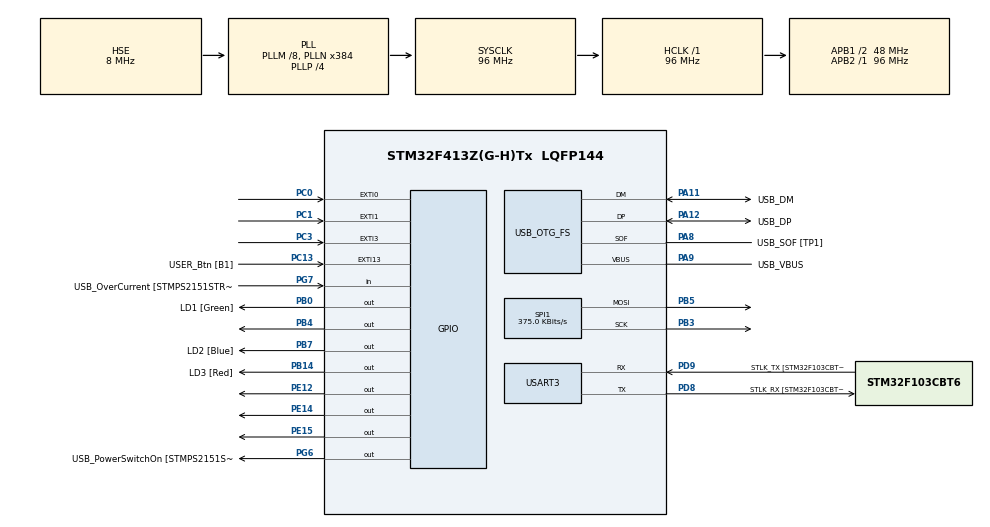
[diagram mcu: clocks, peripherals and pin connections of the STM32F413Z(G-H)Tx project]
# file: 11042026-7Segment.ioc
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Dma.Request0=SPI1_TX
Dma.SPI1_TX.0.Direction=DMA_MEMORY_TO_PERIPH
Dma.SPI1_TX.0.FIFOMode=DMA_FIFOMODE_DISABLE
Dma.SPI1_TX.0.Instance=DMA2_Stream2
Dma.SPI1_TX.0.MemDataAlignment=DMA_MDATAALIGN_BYTE
Dma.SPI1_TX.0.MemInc=DMA_MINC_ENABLE
Dma.SPI1_TX.0.Mode=DMA_NORMAL
Dma.SPI1_TX.0.PeriphDataAlignment=DMA_PDATAALIGN_BYTE
Dma.SPI1_TX.0.PeriphInc=DMA_PINC_DISABLE
Dma.SPI1_TX.0.Priority=DMA_PRIORITY_HIGH
Mcu.Family=STM32F4
Mcu.Name=STM32F413Z(G-H)Tx
Mcu.Package=LQFP144
NVIC.DMA2_Stream2_IRQn=true\:1\:0\:true\:false\:true\:false\:true\:true
NVIC.EXTI0_IRQn=true\:0\:0\:true\:false\:true\:true\:true\:true
NVIC.EXTI1_IRQn=true\:0\:0\:true\:false\:true\:true\:true\:true
NVIC.EXTI3_IRQn=true\:0\:0\:true\:false\:true\:true\:true\:true
NVIC.PriorityGroup=NVIC_PRIORITYGROUP_4
NVIC.SPI1_IRQn=true\:0\:0\:false\:false\:true\:true\:true\:true
NVIC.TIM6_DAC_IRQn=true\:0\:0\:false\:false\:true\:true\:true\:true
PA10.GPIO_Label=USB_ID
PA10.Signal=USB_OTG_FS_ID
PA11.GPIO_Label=USB_DM
PA11.Mode=Device_Only
PA11.Signal=USB_OTG_FS_DM
PA12.GPIO_Label=USB_DP
PA12.Mode=Device_Only
PA12.Signal=USB_OTG_FS_DP
PA13.GPIO_Label=TMS
PA13.Mode=Serial_Wire
PA13.Signal=SYS_JTMS-SWDIO
PA14.GPIO_Label=TCK
PA14.Mode=Serial_Wire
PA14.Signal=SYS_JTCK-SWCLK
PA8.GPIO_Label=USB_SOF [TP1]
PA8.Mode=Activate_SOF_FS
PA8.Signal=USB_OTG_FS_SOF
PA9.GPIO_Label=USB_VBUS
PA9.Mode=Activate_VBUS
PA9.Signal=USB_OTG_FS_VBUS
PB0.GPIO_Label=LD1 [Green]
PB0.Signal=GPIO_Output
PB14.GPIO_Label=LD3 [Red]
PB14.Signal=GPIO_Output
PB3.Mode=TX_Only_Simplex_Unidirect_Master
PB3.Signal=SPI1_SCK
PB4.Signal=GPIO_Output
PB5.Mode=TX_Only_Simplex_Unidirect_Master
PB5.Signal=SPI1_MOSI
PB7.GPIO_Label=LD2 [Blue]
PB7.Signal=GPIO_Output
PC0.GPIO_ModeDefaultEXTI=GPIO_MODE_IT_FALLING
PC0.Signal=GPXTI0
PC1.GPIO_ModeDefaultEXTI=GPIO_MODE_IT_FALLING
PC1.Signal=GPXTI1
PC13.GPIO_Label=USER_Btn [B1]
PC13.Signal=GPXTI13
PC14-OSC32_IN.Mode=LSE-External-Oscillator
PC14-OSC32_IN.Signal=RCC_OSC32_IN
PC15-OSC32_OUT.Mode=LSE-External-Oscillator
PC15-OSC32_OUT.Signal=RCC_OSC32_OUT
PC3.GPIO_ModeDefaultEXTI=GPIO_MODE_IT_FALLING
PC3.Signal=GPXTI3
PD8.GPIO_Label=STLK_RX [STM32F103CBT6_PA3]
PD8.Mode=Asynchronous
PD8.Signal=USART3_TX
PD9.GPIO_Label=STLK_TX [STM32F103CBT6_PA2]
PD9.Mode=Asynchronous
PD9.Signal=USART3_RX
PE12.Signal=GPIO_Output
PE14.Signal=GPIO_Output
PE15.Signal=GPIO_Output
PG6.GPIO_Label=USB_PowerSwitchOn [STMPS2151STR_EN]
PG6.Signal=GPIO_Output
PG7.GPIO_Label=USB_OverCurrent [STMPS2151STR_FAULT]
PG7.Signal=GPIO_Input
PH0\ -\ OSC_IN.GPIO_Label=MCO
PH0\ -\ OSC_IN.Mode=HSE-External-Clock-Source
PH0\ -\ OSC_IN.Signal=RCC_OSC_IN
PH1\ -\ OSC_OUT.Mode=HSE-External-Clock-Source
PH1\ -\ OSC_OUT.Signal=RCC_OSC_OUT
ProjectManager.HeapSize=0x200
ProjectManager.StackSize=0x400
ProjectManager.TargetToolchain=CMake
RCC.48MHZClocksFreq_Value=24000000
RCC.AHBFreq_Value=96000000
RCC.APB1CLKDivider=RCC_HCLK_DIV2
RCC.APB1Freq_Value=48000000
RCC.APB1TimFreq_Value=96000000
RCC.APB2Freq_Value=96000000
RCC.APB2TimFreq_Value=96000000
RCC.CortexFreq_Value=96000000
RCC.HCLKFreq_Value=96000000
RCC.HSE_VALUE=8000000
RCC.HSI_VALUE=16000000
RCC.PLLM=8
RCC.PLLMUL=RCC_PLL_MUL9
RCC.PLLN=384
RCC.PLLP=RCC_PLLP_DIV4
RCC.PLLQ=8
RCC.PRESCALERUSB=RCC_USBCLKSOURCE_PLL_DIV1_5
RCC.SYSCLKFreq_VALUE=96000000
RCC.SYSCLKSource=RCC_SYSCLKSOURCE_PLLCLK
RCC.SYSCLKSourceVirtual=RCC_SYSCLKSOURCE_PLLCLK
RCC.USBFreq_Value=48000000
RCC.VCOOutputFreq_Value=384000000
SPI1.BaudRatePrescaler=SPI_BAUDRATEPRESCALER_256
SPI1.CalculateBaudRate=375.0 KBits/s
SPI1.DataSize=SPI_DATASIZE_8BIT
SPI1.Direction=SPI_DIRECTION_2LINES
SPI1.Mode=SPI_MODE_MASTER
SPI1.VirtualType=VM_MASTER
TIM6.Period=1000
TIM6.Prescaler=9600-1
USART3.VirtualMode=VM_ASYNC
USB_OTG_FS.VirtualMode=Device_Only
VP_TIM6_VS_ClockSourceINT.Mode=Enable_Timer
board=NUCLEO-F413ZH

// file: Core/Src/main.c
/* USER CODE BEGIN Header */
/**
  ******************************************************************************
  * @file           : main.c
  * @brief          : Main program body
  ******************************************************************************
  * @attention
  *
  * Copyright (c) 2026 STMicroelectronics.
  * All rights reserved.
  *
  * This software is licensed under terms that can be found in the LICENSE file
  * in the root directory of this software component.
  * If no LICENSE file comes with this software, it is provided AS-IS.
  *
  ******************************************************************************
  */
/* USER CODE END Header */
#include "main.h"
#include "stm32f413xx.h"
#include "stm32f4xx_hal_gpio.h"

/* USER CODE BEGIN Includes */
#include <string.h>
#include <stdio.h>
/* USER CODE END Includes */

SPI_HandleTypeDef hspi1;
DMA_HandleTypeDef hdma_spi1_tx;

TIM_HandleTypeDef htim6;

UART_HandleTypeDef huart3;

PCD_HandleTypeDef hpcd_USB_OTG_FS;

/* USER CODE BEGIN PV */
// uint8_t data=0xC0;
// uint8_t segment=0x08;
const uint8_t SEGMENT_MAP[] = {0xC0,0xF9,0xA4,0xB0,0x99,0x92,0x82,0xF8,0X80,0X90};
const uint8_t SEGMENT_SELECT[] = {0x01, 0x02, 0x04, 0x08};
uint8_t digit[2];
char msg[40];
volatile int seconds = 0;
volatile int centiseconds = 0;
volatile int current_digit = 0;
/* USER CODE END PV */

void SystemClock_Config(void);
static void MX_GPIO_Init(void);
static void MX_DMA_Init(void);
static void MX_USART3_UART_Init(void);
static void MX_USB_OTG_FS_PCD_Init(void);
static void MX_SPI1_Init(void);
static void MX_TIM6_Init(void);
/* USER CODE BEGIN PFP */
void write_digit(int index);
/* USER CODE END PFP */

int main(void)
{

  /* MCU Configuration--------------------------------------------------------*/

  /* Reset of all peripherals, Initializes the Flash interface and the Systick. */
  HAL_Init();

  /* Configure the system clock */
  SystemClock_Config();

  /* Initialize all configured peripherals */
  MX_GPIO_Init();
  MX_DMA_Init();
  MX_USART3_UART_Init();
  MX_USB_OTG_FS_PCD_Init();
  MX_SPI1_Init();
  MX_TIM6_Init();
  /* USER CODE BEGIN 2 */
  //HAL_SPI_Transmit_IT(&hspi1, &sixteen[i], 1);
  HAL_TIM_Base_Start_IT(&htim6);
  write_digit(0);
  /* USER CODE END 2 */

  /* Infinite loop */
  while (1)
  {

  }
}

void SystemClock_Config(void)
{
  RCC_OscInitTypeDef RCC_OscInitStruct = {0};
  RCC_ClkInitTypeDef RCC_ClkInitStruct = {0};

  /** Configure the main internal regulator output voltage
  */
  __HAL_RCC_PWR_CLK_ENABLE();
  __HAL_PWR_VOLTAGESCALING_CONFIG(PWR_REGULATOR_VOLTAGE_SCALE1);

  /** Initializes the RCC Oscillators according to the specified parameters
  * in the RCC_OscInitTypeDef structure.
  */
  RCC_OscInitStruct.OscillatorType = RCC_OSCILLATORTYPE_HSE;
  RCC_OscInitStruct.HSEState = RCC_HSE_BYPASS;
  RCC_OscInitStruct.PLL.PLLState = RCC_PLL_ON;
  RCC_OscInitStruct.PLL.PLLSource = RCC_PLLSOURCE_HSE;
  RCC_OscInitStruct.PLL.PLLM = 8;
  RCC_OscInitStruct.PLL.PLLN = 384;
  RCC_OscInitStruct.PLL.PLLP = RCC_PLLP_DIV4;
  RCC_OscInitStruct.PLL.PLLQ = 8;
  RCC_OscInitStruct.PLL.PLLR = 2;
  if (HAL_RCC_OscConfig(&RCC_OscInitStruct) != HAL_OK)
  {
    Error_Handler();
  }

  /** Initializes the CPU, AHB and APB buses clocks
  */
  RCC_ClkInitStruct.ClockType = RCC_CLOCKTYPE_HCLK|RCC_CLOCKTYPE_SYSCLK
                              |RCC_CLOCKTYPE_PCLK1|RCC_CLOCKTYPE_PCLK2;
  RCC_ClkInitStruct.SYSCLKSource = RCC_SYSCLKSOURCE_PLLCLK;
  RCC_ClkInitStruct.AHBCLKDivider = RCC_SYSCLK_DIV1;
  RCC_ClkInitStruct.APB1CLKDivider = RCC_HCLK_DIV2;
  RCC_ClkInitStruct.APB2CLKDivider = RCC_HCLK_DIV1;

  if (HAL_RCC_ClockConfig(&RCC_ClkInitStruct, FLASH_LATENCY_3) != HAL_OK)
  {
    Error_Handler();
  }
}

static void MX_SPI1_Init(void)
{

  /* SPI1 parameter configuration*/
  hspi1.Instance = SPI1;
  hspi1.Init.Mode = SPI_MODE_MASTER;
  hspi1.Init.Direction = SPI_DIRECTION_2LINES;
  hspi1.Init.DataSize = SPI_DATASIZE_8BIT;
  hspi1.Init.CLKPolarity = SPI_POLARITY_LOW;
  hspi1.Init.CLKPhase = SPI_PHASE_1EDGE;
  hspi1.Init.NSS = SPI_NSS_SOFT;
  hspi1.Init.BaudRatePrescaler = SPI_BAUDRATEPRESCALER_256;
  hspi1.Init.FirstBit = SPI_FIRSTBIT_MSB;
  hspi1.Init.TIMode = SPI_TIMODE_DISABLE;
  hspi1.Init.CRCCalculation = SPI_CRCCALCULATION_DISABLE;
  hspi1.Init.CRCPolynomial = 10;
  if (HAL_SPI_Init(&hspi1) != HAL_OK)
  {
    Error_Handler();
  }

}

static void MX_TIM6_Init(void)
{

  TIM_MasterConfigTypeDef sMasterConfig = {0};

  htim6.Instance = TIM6;
  htim6.Init.Prescaler = 9600-1;
  htim6.Init.CounterMode = TIM_COUNTERMODE_UP;
  htim6.Init.Period = 1000;
  htim6.Init.AutoReloadPreload = TIM_AUTORELOAD_PRELOAD_DISABLE;
  if (HAL_TIM_Base_Init(&htim6) != HAL_OK)
  {
    Error_Handler();
  }
  sMasterConfig.MasterOutputTrigger = TIM_TRGO_RESET;
  sMasterConfig.MasterSlaveMode = TIM_MASTERSLAVEMODE_DISABLE;
  if (HAL_TIMEx_MasterConfigSynchronization(&htim6, &sMasterConfig) != HAL_OK)
  {
    Error_Handler();
  }

}

static void MX_USART3_UART_Init(void)
{

  huart3.Instance = USART3;
  huart3.Init.BaudRate = 115200;
  huart3.Init.WordLength = UART_WORDLENGTH_8B;
  huart3.Init.StopBits = UART_STOPBITS_1;
  huart3.Init.Parity = UART_PARITY_NONE;
  huart3.Init.Mode = UART_MODE_TX_RX;
  huart3.Init.HwFlowCtl = UART_HWCONTROL_NONE;
  huart3.Init.OverSampling = UART_OVERSAMPLING_16;
  if (HAL_UART_Init(&huart3) != HAL_OK)
  {
    Error_Handler();
  }

}

static void MX_USB_OTG_FS_PCD_Init(void)
{

  hpcd_USB_OTG_FS.Instance = USB_OTG_FS;
  hpcd_USB_OTG_FS.Init.dev_endpoints = 6;
  hpcd_USB_OTG_FS.Init.speed = PCD_SPEED_FULL;
  hpcd_USB_OTG_FS.Init.dma_enable = DISABLE;
  hpcd_USB_OTG_FS.Init.phy_itface = PCD_PHY_EMBEDDED;
  hpcd_USB_OTG_FS.Init.Sof_enable = ENABLE;
  hpcd_USB_OTG_FS.Init.low_power_enable = DISABLE;
  hpcd_USB_OTG_FS.Init.lpm_enable = DISABLE;
  hpcd_USB_OTG_FS.Init.battery_charging_enable = ENABLE;
  hpcd_USB_OTG_FS.Init.vbus_sensing_enable = ENABLE;
  hpcd_USB_OTG_FS.Init.use_dedicated_ep1 = DISABLE;
  if (HAL_PCD_Init(&hpcd_USB_OTG_FS) != HAL_OK)
  {
    Error_Handler();
  }

}

static void MX_DMA_Init(void)
{

  /* DMA controller clock enable */
  __HAL_RCC_DMA2_CLK_ENABLE();

  /* DMA interrupt init */
  /* DMA2_Stream2_IRQn interrupt configuration */
  HAL_NVIC_SetPriority(DMA2_Stream2_IRQn, 1, 0);
  HAL_NVIC_EnableIRQ(DMA2_Stream2_IRQn);

}

static void MX_GPIO_Init(void)
{
  GPIO_InitTypeDef GPIO_InitStruct = {0};

  /* GPIO Ports Clock Enable */
  __HAL_RCC_GPIOC_CLK_ENABLE();
  __HAL_RCC_GPIOH_CLK_ENABLE();
  __HAL_RCC_GPIOB_CLK_ENABLE();
  __HAL_RCC_GPIOE_CLK_ENABLE();
  __HAL_RCC_GPIOD_CLK_ENABLE();
  __HAL_RCC_GPIOG_CLK_ENABLE();
  __HAL_RCC_GPIOA_CLK_ENABLE();

  /*Configure GPIO pin Output Level */
  HAL_GPIO_WritePin(GPIOB, LD1_Pin|LD3_Pin|GPIO_PIN_4|LD2_Pin, GPIO_PIN_RESET);

  /*Configure GPIO pin Output Level */
  HAL_GPIO_WritePin(GPIOE, GPIO_PIN_12|GPIO_PIN_14|GPIO_PIN_15, GPIO_PIN_RESET);

  /*Configure GPIO pin Output Level */
  HAL_GPIO_WritePin(USB_PowerSwitchOn_GPIO_Port, USB_PowerSwitchOn_Pin, GPIO_PIN_RESET);

  /*Configure GPIO pin : USER_Btn_Pin */
  GPIO_InitStruct.Pin = USER_Btn_Pin;
  GPIO_InitStruct.Mode = GPIO_MODE_IT_RISING;
  GPIO_InitStruct.Pull = GPIO_NOPULL;
  HAL_GPIO_Init(USER_Btn_GPIO_Port, &GPIO_InitStruct);

  /*Configure GPIO pins : PC0 PC1 PC3 */
  GPIO_InitStruct.Pin = GPIO_PIN_0|GPIO_PIN_1|GPIO_PIN_3;
  GPIO_InitStruct.Mode = GPIO_MODE_IT_FALLING;
  GPIO_InitStruct.Pull = GPIO_NOPULL;
  HAL_GPIO_Init(GPIOC, &GPIO_InitStruct);

  /*Configure GPIO pins : LD1_Pin LD3_Pin PB4 2_Pin */
  GPIO_InitStruct.Pin = LD1_Pin|LD3_Pin|GPIO_PIN_4|LD2_Pin;
  GPIO_InitStruct.Mode = GPIO_MODE_OUTPUT_PP;
  GPIO_InitStruct.Pull = GPIO_NOPULL;
  GPIO_InitStruct.Speed = GPIO_SPEED_FREQ_LOW;
  HAL_GPIO_Init(GPIOB, &GPIO_InitStruct);

  /*Configure GPIO pins : PE12 PE14 PE15 */
  GPIO_InitStruct.Pin = GPIO_PIN_12|GPIO_PIN_14|GPIO_PIN_15;
  GPIO_InitStruct.Mode = GPIO_MODE_OUTPUT_PP;
  GPIO_InitStruct.Pull = GPIO_NOPULL;
  GPIO_InitStruct.Speed = GPIO_SPEED_FREQ_LOW;
  HAL_GPIO_Init(GPIOE, &GPIO_InitStruct);

  /*Configure GPIO pin : USB_PowerSwitchOn_Pin */
  GPIO_InitStruct.Pin = USB_PowerSwitchOn_Pin;
  GPIO_InitStruct.Mode = GPIO_MODE_OUTPUT_PP;
  GPIO_InitStruct.Pull = GPIO_NOPULL;
  GPIO_InitStruct.Speed = GPIO_SPEED_FREQ_LOW;
  HAL_GPIO_Init(USB_PowerSwitchOn_GPIO_Port, &GPIO_InitStruct);

  /*Configure GPIO pin : USB_OverCurrent_Pin */
  GPIO_InitStruct.Pin = USB_OverCurrent_Pin;
  GPIO_InitStruct.Mode = GPIO_MODE_INPUT;
  GPIO_InitStruct.Pull = GPIO_NOPULL;
  HAL_GPIO_Init(USB_OverCurrent_GPIO_Port, &GPIO_InitStruct);

  /* EXTI interrupt init*/
  HAL_NVIC_SetPriority(EXTI0_IRQn, 0, 0);
  HAL_NVIC_EnableIRQ(EXTI0_IRQn);

  HAL_NVIC_SetPriority(EXTI1_IRQn, 0, 0);
  HAL_NVIC_EnableIRQ(EXTI1_IRQn);

  HAL_NVIC_SetPriority(EXTI3_IRQn, 0, 0);
  HAL_NVIC_EnableIRQ(EXTI3_IRQn);

}

/* USER CODE BEGIN 4 */
void write_digit(int index){
  switch(index % 4)
    {
        case 0:
            digit[0] = SEGMENT_MAP[(seconds / 10) % 10];
            digit[1] = SEGMENT_SELECT[0];
            break;

        case 1:
            digit[0] = SEGMENT_MAP[seconds % 10] & ~0x80;
            digit[1] = SEGMENT_SELECT[1];
            break;

        case 2:
            digit[0] = SEGMENT_MAP[centiseconds];
            digit[1] = SEGMENT_SELECT[2];
            break;
        case 3:
            digit[0] = SEGMENT_MAP[0];
            digit[1] = SEGMENT_SELECT[3];
            break;
    }
  HAL_GPIO_WritePin(GPIOB, GPIO_PIN_4, GPIO_PIN_RESET);

  HAL_SPI_Transmit_DMA(&hspi1, digit, 2);
}

void HAL_GPIO_EXTI_Callback(uint16_t GPIO_Pin){
  if(GPIO_Pin == GPIO_PIN_0){ // green -- pos0
    HAL_TIM_Base_Start_IT(&htim6);
    HAL_GPIO_WritePin(GPIOB, LD1_Pin, GPIO_PIN_RESET);
    HAL_GPIO_WritePin(GPIOB, LD2_Pin, GPIO_PIN_RESET);
    HAL_GPIO_WritePin(GPIOB, LD3_Pin, GPIO_PIN_RESET);
  }
  else if (GPIO_Pin == GPIO_PIN_3){ // red -- pos1
    centiseconds = 0;
    seconds = 0;
  }
  else if(GPIO_Pin == GPIO_PIN_1){ //blue -- pos2
    //timer stop
    HAL_TIM_Base_Stop_IT(&htim6);
    if((centiseconds < 2 && seconds == 12) || (seconds == 11 && centiseconds > 8 )){
      HAL_GPIO_WritePin(GPIOB, LD1_Pin, GPIO_PIN_SET);
    }
    else if((centiseconds < 4 && seconds == 12) || (seconds == 11 && centiseconds > 6 )){
      HAL_GPIO_WritePin(GPIOB, LD2_Pin, GPIO_PIN_SET);
    }
    else if((centiseconds < 6 && seconds == 12) || (seconds == 11 && centiseconds > 4) ){
      HAL_GPIO_WritePin(GPIOB, LD3_Pin, GPIO_PIN_SET);
    }

  }
}

void HAL_TIM_PeriodElapsedCallback(TIM_HandleTypeDef *htim){
  centiseconds ++;
  if (centiseconds == 10) {
    seconds ++;
    centiseconds = 0;
  }
  // sprintf(msg, "seconds:%d centiseconds:%d\n", seconds, centiseconds);
  // HAL_UART_Transmit(&huart3, (uint8_t *)msg , strlen(msg) , HAL_MAX_DELAY);
}

void HAL_SPI_TxCpltCallback(SPI_HandleTypeDef *hspi){
  HAL_GPIO_WritePin(GPIOB, GPIO_PIN_4, GPIO_PIN_SET);
    write_digit(current_digit);
    current_digit++;
}
/* USER CODE END 4 */

void Error_Handler(void)
{
  __disable_irq();
  while (1)
  {
  }
}
